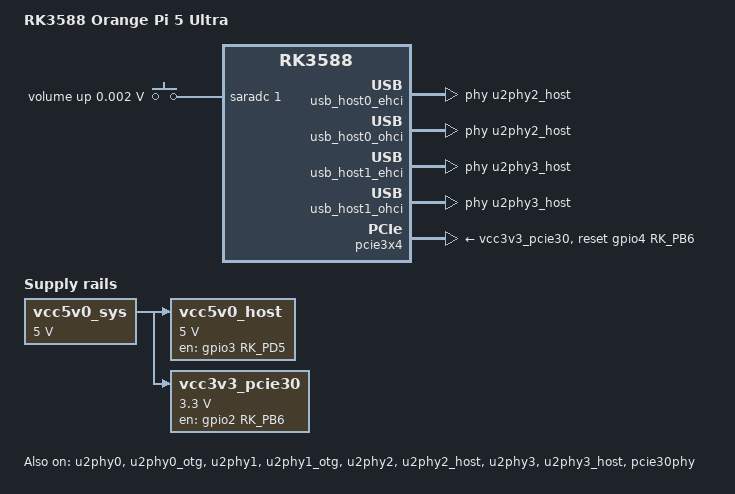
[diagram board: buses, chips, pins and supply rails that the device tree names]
// SPDX-License-Identifier: (GPL-2.0+ OR MIT)
/*
 * Copyright (c) 2021 Rockchip Electronics Co., Ltd
 *
 */

/dts-v1/;
#include "rk3588.dtsi"
#include "rk3588-u-boot.dtsi"
#include <dt-bindings/input/input.h>

/ {
	model = "RK3588 Orange Pi 5 Ultra";
	compatible = "rockchip,rk3588-orangepi-5-ultra", "rockchip,rk3588";

	adc-keys {
		compatible = "adc-keys";
		io-channels = <&saradc 1>;
		io-channel-names = "buttons";
		keyup-threshold-microvolt = <1800000>;
		u-boot,dm-pre-reloc;
		status = "okay";

		volumeup-key {
			u-boot,dm-pre-reloc;
			linux,code = <KEY_VOLUMEUP>;
			label = "volume up";
			press-threshold-microvolt = <1750>;
		};
	};

	vcc5v0_sys: vcc5v0-sys {
		u-boot,dm-pre-reloc;
		compatible = "regulator-fixed";
		regulator-name = "vcc5v0_sys";
		regulator-always-on;
		regulator-boot-on;
		regulator-min-microvolt = <5000000>;
		regulator-max-microvolt = <5000000>;
	};

	vcc5v0_host: vcc5v0-host {
		u-boot,dm-pre-reloc;
		compatible = "regulator-fixed";
		regulator-name = "vcc5v0_host";
		regulator-boot-on;
		regulator-always-on;
		regulator-min-microvolt = <5000000>;
		regulator-max-microvolt = <5000000>;
		enable-active-high;
		gpio = <&gpio3 RK_PD5 GPIO_ACTIVE_HIGH>;
		vin-supply = <&vcc5v0_sys>;
	};

	vcc3v3_pcie30: vcc3v3-pcie30 {
		u-boot,dm-pre-reloc;
		compatible = "regulator-fixed";
		regulator-name = "vcc3v3_pcie30";
		regulator-min-microvolt = <3300000>;
		regulator-max-microvolt = <3300000>;
		enable-active-high;
		gpio = <&gpio2 RK_PB6 GPIO_ACTIVE_HIGH>;
		regulator-boot-on;
		regulator-always-on;
		vin-supply = <&vcc5v0_sys>;
	};
};

&u2phy0 {
	u-boot,dm-pre-reloc;
	status = "okay";
};

&u2phy0_otg {
	u-boot,dm-pre-reloc;
	status = "okay";
};


&u2phy1 {
	u-boot,dm-pre-reloc;
	status = "okay";
};

&u2phy1_otg {
	u-boot,dm-pre-reloc;
	status = "okay";
};

&u2phy2 {
	u-boot,dm-pre-reloc;
	status = "okay";
};

&u2phy2_host {
	u-boot,dm-pre-reloc;
	status = "okay";
};

&u2phy3 {
	u-boot,dm-pre-reloc;
	status = "okay";
};

&u2phy3_host {
	u-boot,dm-pre-reloc;
	status = "okay";
};

&usb_host0_ehci {
	u-boot,dm-pre-reloc;
	compatible = "rockchip,rk3588-ehci", "generic-ehci";
	reg = <0x0 0xfc800000 0x0 0x40000>;
	interrupts = <0 215 4>;
	clocks = <&cru 413>, <&cru 414>, <&u2phy2>;
	clock-names = "usbhost", "arbiter", "utmi";
	companion = <&usb_host0_ohci>;
	phys = <&u2phy2_host>;
	phy-names = "usb2-phy";
	power-domains = <&power 31>;
	status = "okay";
};

&usb_host0_ohci {
	u-boot,dm-pre-reloc;
	compatible = "generic-ohci";
	reg = <0x0 0xfc840000 0x0 0x40000>;
	interrupts = <0 216 4>;
	clocks = <&cru 413>, <&cru 414>, <&u2phy2>;
	clock-names = "usbhost", "arbiter", "utmi";
	phys = <&u2phy2_host>;
	phy-names = "usb2-phy";
	power-domains = <&power 31>;
	status = "okay";
};

&usb_host1_ehci {
	u-boot,dm-pre-reloc;
	compatible = "rockchip,rk3588-ehci", "generic-ehci";
	reg = <0x0 0xfc880000 0x0 0x40000>;
	interrupts = <0 218 4>;
	clocks = <&cru 415>, <&cru 416>, <&u2phy3>;
	clock-names = "usbhost", "arbiter", "utmi";
	companion = <&usb_host1_ohci>;
	phys = <&u2phy3_host>;
	phy-names = "usb2-phy";
	power-domains = <&power 31>;
	status = "okay";
};

&usb_host1_ohci {
	u-boot,dm-pre-reloc;
	compatible = "generic-ohci";
	reg = <0x0 0xfc8c0000 0x0 0x40000>;
	interrupts = <0 219 4>;
	clocks = <&cru 415>, <&cru 416>, <&u2phy3>;
	clock-names = "usbhost", "arbiter", "utmi";
	phys = <&u2phy3_host>;
	phy-names = "usb2-phy";
	power-domains = <&power 31>;
	status = "okay";
};

&pcie3x4 {
	u-boot,dm-pre-reloc;
	vpcie3v3-supply = <&vcc3v3_pcie30>;
	reset-gpios = <&gpio4 RK_PB6 GPIO_ACTIVE_HIGH>;
	status = "okay";
};

&pcie30phy {
	u-boot,dm-pre-reloc;
	status = "okay";
};

&sfc {
	pinctrl-names = "default";
	pinctrl-0 = <&fspim2_pins &fspim2_cs1>;

};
